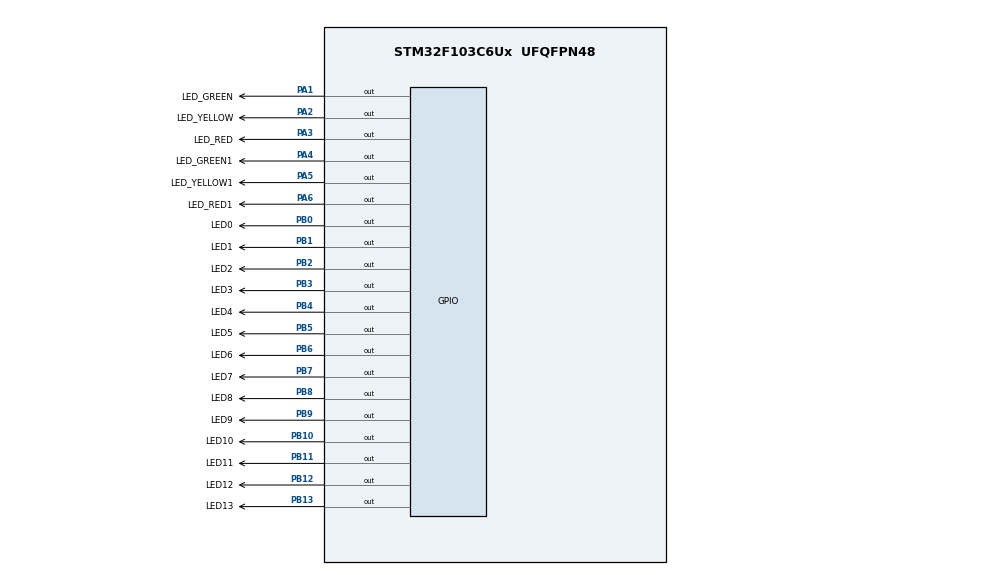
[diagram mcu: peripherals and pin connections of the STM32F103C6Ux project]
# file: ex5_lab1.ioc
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Mcu.Family=STM32F1
Mcu.Name=STM32F103C6Ux
Mcu.Package=UFQFPN48
NVIC.PriorityGroup=NVIC_PRIORITYGROUP_4
PA1.GPIO_Label=LED_GREEN
PA1.Signal=GPIO_Output
PA2.GPIO_Label=LED_YELLOW
PA2.Signal=GPIO_Output
PA3.GPIO_Label=LED_RED
PA3.Signal=GPIO_Output
PA4.GPIO_Label=LED_GREEN1
PA4.Signal=GPIO_Output
PA5.GPIO_Label=LED_YELLOW1
PA5.Signal=GPIO_Output
PA6.GPIO_Label=LED_RED1
PA6.Signal=GPIO_Output
PB0.GPIO_Label=LED0
PB0.Signal=GPIO_Output
PB1.GPIO_Label=LED1
PB1.Signal=GPIO_Output
PB10.GPIO_Label=LED10
PB10.Signal=GPIO_Output
PB11.GPIO_Label=LED11
PB11.Signal=GPIO_Output
PB12.GPIO_Label=LED12
PB12.Signal=GPIO_Output
PB13.GPIO_Label=LED13
PB13.Signal=GPIO_Output
PB2.GPIO_Label=LED2
PB2.Signal=GPIO_Output
PB3.GPIO_Label=LED3
PB3.Signal=GPIO_Output
PB4.GPIO_Label=LED4
PB4.Signal=GPIO_Output
PB5.GPIO_Label=LED5
PB5.Signal=GPIO_Output
PB6.GPIO_Label=LED6
PB6.Signal=GPIO_Output
PB7.GPIO_Label=LED7
PB7.Signal=GPIO_Output
PB8.GPIO_Label=LED8
PB8.Signal=GPIO_Output
PB9.GPIO_Label=LED9
PB9.Signal=GPIO_Output
ProjectManager.HeapSize=0x200
ProjectManager.StackSize=0x400
ProjectManager.TargetToolchain=STM32CubeIDE
RCC.APB1Freq_Value=8000000
RCC.APB2Freq_Value=8000000
VP_SYS_VS_ND.Mode=No_Debug
board=custom

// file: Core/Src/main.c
/* USER CODE BEGIN Header */
/**
  ******************************************************************************
  * @file           : main.c
  * @brief          : Main program body
  ******************************************************************************
  * @attention
  *
  * <h2><center>&copy; Copyright (c) 2022 STMicroelectronics.
  * All rights reserved.</center></h2>
  *
  * This software component is licensed by ST under BSD 3-Clause license,
  * the "License"; You may not use this file except in compliance with the
  * License. You may obtain a copy of the License at:
  *                        opensource.org/licenses/BSD-3-Clause
  *
  ******************************************************************************
  */
/* USER CODE END Header */
#include "main.h"

void SystemClock_Config(void);
static void MX_GPIO_Init(void);

/* USER CODE BEGIN 0 */
void display7SEG(int num){
   switch(num){
	case 0:
		HAL_GPIO_WritePin(GPIOB, LED0_Pin | LED1_Pin | LED2_Pin | LED3_Pin | LED4_Pin | LED5_Pin, RESET);
		HAL_GPIO_WritePin(GPIOB,  LED6_Pin, SET);
		break;

	case 1:
		HAL_GPIO_WritePin(GPIOB,  LED1_Pin | LED2_Pin, RESET);
		HAL_GPIO_WritePin(GPIOB, LED0_Pin | LED3_Pin | LED4_Pin | LED5_Pin | LED6_Pin , SET);
		break;
	case 2:
		HAL_GPIO_WritePin(GPIOB, LED0_Pin | LED1_Pin |  LED3_Pin | LED4_Pin |  LED6_Pin, RESET);
		HAL_GPIO_WritePin(GPIOB, LED2_Pin | LED5_Pin, SET);
		break;
	case 3:
		HAL_GPIO_WritePin(GPIOB, LED0_Pin |LED1_Pin | LED2_Pin | LED3_Pin | LED6_Pin, RESET);
		HAL_GPIO_WritePin(GPIOB, LED4_Pin | LED5_Pin, SET);
		break;
	case 4:
		HAL_GPIO_WritePin(GPIOB, LED1_Pin | LED2_Pin |  LED5_Pin | LED6_Pin , RESET);
		HAL_GPIO_WritePin(GPIOB, LED0_Pin | LED3_Pin | LED4_Pin, SET);
		break;
	case 5:
		HAL_GPIO_WritePin(GPIOB, LED0_Pin | LED2_Pin | LED3_Pin |  LED5_Pin | LED6_Pin , RESET);
		HAL_GPIO_WritePin(GPIOB, LED1_Pin | LED4_Pin, SET);
		break;
	case 6:
		HAL_GPIO_WritePin(GPIOB, LED0_Pin |  LED2_Pin | LED3_Pin | LED4_Pin | LED5_Pin | LED6_Pin , RESET);
		HAL_GPIO_WritePin(GPIOB, LED1_Pin, SET);
		break;
	case 7:
		HAL_GPIO_WritePin(GPIOB, LED0_Pin | LED1_Pin | LED2_Pin, RESET);
		HAL_GPIO_WritePin(GPIOB, LED3_Pin | LED4_Pin | LED5_Pin | LED6_Pin , SET);
		break;
	case 8:
		HAL_GPIO_WritePin(GPIOB, LED0_Pin | LED1_Pin | LED2_Pin | LED3_Pin | LED4_Pin | LED5_Pin | LED6_Pin , RESET);
		break;
	case 9:
		HAL_GPIO_WritePin(GPIOB, LED0_Pin | LED1_Pin | LED2_Pin | LED3_Pin | LED5_Pin | LED6_Pin , RESET);
		HAL_GPIO_WritePin(GPIOB, LED4_Pin, SET);
		break;
   }
}
void display7SEG_1(int num){
	switch(num){
	case 0:
		HAL_GPIO_WritePin(GPIOB, LED7_Pin | LED8_Pin | LED9_Pin | LED10_Pin | LED11_Pin | LED12_Pin, RESET);
		HAL_GPIO_WritePin(GPIOB,  LED13_Pin, SET);
		break;

	case 1:
		HAL_GPIO_WritePin(GPIOB, LED8_Pin | LED9_Pin, RESET);
		HAL_GPIO_WritePin(GPIOB, LED7_Pin | LED10_Pin | LED11_Pin | LED12_Pin | LED13_Pin , SET);
		break;
	case 2:
		HAL_GPIO_WritePin(GPIOB, LED7_Pin | LED8_Pin |  LED10_Pin | LED11_Pin |  LED13_Pin, RESET);
		HAL_GPIO_WritePin(GPIOB, LED9_Pin | LED12_Pin, SET);
		break;
	case 3:
		HAL_GPIO_WritePin(GPIOB, LED7_Pin |LED8_Pin | LED9_Pin | LED10_Pin | LED13_Pin, RESET);
		HAL_GPIO_WritePin(GPIOB, LED11_Pin | LED12_Pin, SET);
		break;
	case 4:
		HAL_GPIO_WritePin(GPIOB, LED8_Pin | LED9_Pin |  LED12_Pin | LED13_Pin , RESET);
		HAL_GPIO_WritePin(GPIOB, LED7_Pin | LED10_Pin | LED11_Pin, SET);
		break;
	case 5:
		HAL_GPIO_WritePin(GPIOB, LED7_Pin | LED9_Pin | LED10_Pin |  LED12_Pin | LED13_Pin , RESET);
		HAL_GPIO_WritePin(GPIOB, LED8_Pin | LED11_Pin, SET);
		break;
	case 6:
		HAL_GPIO_WritePin(GPIOB, LED7_Pin |  LED9_Pin | LED10_Pin | LED11_Pin | LED12_Pin | LED13_Pin , RESET);
		HAL_GPIO_WritePin(GPIOB, LED8_Pin, SET);
		break;
	case 7:
		HAL_GPIO_WritePin(GPIOB, LED7_Pin | LED8_Pin | LED9_Pin, RESET);
		HAL_GPIO_WritePin(GPIOB, LED10_Pin | LED11_Pin | LED12_Pin | LED13_Pin , SET);
		break;
	case 8:
		HAL_GPIO_WritePin(GPIOB, LED7_Pin | LED8_Pin | LED9_Pin | LED10_Pin | LED11_Pin | LED12_Pin | LED13_Pin , RESET);
		break;
	case 9:
		HAL_GPIO_WritePin(GPIOB, LED7_Pin | LED8_Pin | LED9_Pin | LED10_Pin | LED12_Pin | LED13_Pin , RESET);
		HAL_GPIO_WritePin(GPIOB, LED11_Pin, SET);
		break;
   }
}
/* USER CODE END 0 */

/*
int dec_to_7seg(int num){
	switch(num){
	case 0: return 0x3f;
	case 1: return 0x06;
	case 2: return 0x5b;
	case 3: return 0x4f;
	case 4: return 0x66;
	case 5: return 0x6d;
	case 6: return 0x7D;
	case 7: return 0x07;
	case 8: return 0x7F;
	case 9: return 0x6f;
	default : return 0x00;
	}
}

void display7SEG(int num){
	int bit_var;
	bit_var = dec_to_7seg(num);
	HAL_GPIO_WritePin(LED0_GPIO_Port, LED0_Pin, !(bit_var & 0x01));
	HAL_GPIO_WritePin(LED1_GPIO_Port, LED1_Pin, !((bit_var>>1)&0x01));
	HAL_GPIO_WritePin(LED2_GPIO_Port, LED2_Pin, !((bit_var>>2)&0x01));
	HAL_GPIO_WritePin(LED3_GPIO_Port, LED3_Pin, !((bit_var>>3)&0x01));
	HAL_GPIO_WritePin(LED4_GPIO_Port, LED4_Pin, !((bit_var>>4)&0x01));
	HAL_GPIO_WritePin(LED5_GPIO_Port, LED5_Pin, !((bit_var>>5)&0x01));
	HAL_GPIO_WritePin(LED6_GPIO_Port, LED6_Pin, !((bit_var>>6)&0x01));
}
void display7SEG_1(int num){
	int bit_var;
	bit_var = dec_to_7seg(num);
	HAL_GPIO_WritePin(LED7_GPIO_Port, LED7_Pin, !(bit_var & 0x01));
	HAL_GPIO_WritePin(LED8_GPIO_Port, LED8_Pin, !((bit_var>>1)&0x01));
	HAL_GPIO_WritePin(LED9_GPIO_Port, LED9_Pin, !((bit_var>>2)&0x01));
	HAL_GPIO_WritePin(LED10_GPIO_Port, LED10_Pin, !((bit_var>>3)&0x01));
	HAL_GPIO_WritePin(LED11_GPIO_Port, LED11_Pin, !((bit_var>>4)&0x01));
	HAL_GPIO_WritePin(LED12_GPIO_Port, LED12_Pin, !((bit_var>>5)&0x01));
	HAL_GPIO_WritePin(LED13_GPIO_Port, LED13_Pin, !((bit_var>>6)&0x01));
}
*/
int main(void)
{

  /* MCU Configuration--------------------------------------------------------*/

  /* Reset of all peripherals, Initializes the Flash interface and the Systick. */
  HAL_Init();

  /* Configure the system clock */
  SystemClock_Config();

  /* Initialize all configured peripherals */
  MX_GPIO_Init();

  /* Infinite loop */
  /* USER CODE BEGIN WHILE */
      int8_t status = 2;
      int8_t count_green = 3;
      int8_t count_yellow = 2;
      int8_t count_red = 5;
      int8_t status1 = 0;
      int8_t count_green1 = 3;
      int8_t count_yellow1 = 2;
      int8_t count_red1 = 5;
      HAL_GPIO_WritePin(LED_RED_GPIO_Port, LED_RED_Pin, SET);
      HAL_GPIO_WritePin(LED_YELLOW_GPIO_Port, LED_YELLOW_Pin, SET);
      HAL_GPIO_WritePin(LED_GREEN_GPIO_Port, LED_GREEN_Pin, SET);
      HAL_GPIO_WritePin(LED_RED1_GPIO_Port, LED_RED1_Pin, SET);
      HAL_GPIO_WritePin(LED_YELLOW1_GPIO_Port, LED_YELLOW1_Pin, SET);
      HAL_GPIO_WritePin(LED_GREEN1_GPIO_Port, LED_GREEN1_Pin, SET);
  while (1)
  {
    /* USER CODE END WHILE */
	  //7SEG-LED1
	  if(status == 2){
	  	 		  HAL_GPIO_WritePin(LED_GREEN_GPIO_Port, LED_GREEN_Pin, RESET);
	  	 		  display7SEG(count_green--);
	  	 		  if(count_green == 0){
	  	 			  status = 1;
	  	 			  count_green = 3;
	  	 			  HAL_GPIO_WritePin(LED_GREEN_GPIO_Port, LED_GREEN_Pin, SET);
	  	 		  }
	  	 	  }
	  	 	  if(status == 1){
	  	 		  HAL_GPIO_WritePin(LED_YELLOW_GPIO_Port, LED_YELLOW_Pin, RESET);
	  	 		  display7SEG(count_yellow--);
	  	 		  if(count_yellow == 0){
	  	 			  HAL_GPIO_WritePin(LED_YELLOW_GPIO_Port, LED_YELLOW_Pin, SET);
	  	 			  count_yellow = 2;
	  	 			  status = 0;
	  	 		  }
	  	 	  }
	  	 	  if(status == 0){
	  	 		  HAL_GPIO_WritePin(LED_RED_GPIO_Port, LED_RED_Pin, RESET);
	  	 		  display7SEG(count_red--);
	  	 		  if(count_red == 0){
	  	 			  HAL_GPIO_WritePin(LED_RED_GPIO_Port, LED_RED_Pin, SET);
	  	 			  status = 2;
	  	 			  count_red = 5;
	  	 		  }
	  	 	  }
	  	 	  //7 SEGMENT LED 2
	  	 	  	  	 if(status1 == 2){
	  	 	 	 		  HAL_GPIO_WritePin(LED_GREEN1_GPIO_Port, LED_GREEN1_Pin, RESET);
	  	 	 	 		   display7SEG_1(count_green1--);
	  	 	 	 		  if(count_green1 == 0){
	  	 	 	 			  status1 = 1;
	  	 	 	 			  count_green1 = 3;
	  	 	 	 			  HAL_GPIO_WritePin(LED_GREEN1_GPIO_Port, LED_GREEN1_Pin, SET);
	  	 	 	 		  }
	  	 	 	 	  }
	  	 	 	 	 if(status1 == 1){
	  	 	 	 		  HAL_GPIO_WritePin(LED_YELLOW1_GPIO_Port, LED_YELLOW1_Pin, RESET);
	  	 	 	 		  display7SEG_1(count_yellow1--);
	  	 	 	 		  if(count_yellow1 == 0){
	  	 	 	 			  HAL_GPIO_WritePin(LED_YELLOW1_GPIO_Port, LED_YELLOW1_Pin, SET);
	  	 	 	 			  count_yellow1 = 2;
	  	 	 	 			  status1 = 0;
	  	 	 	 		  }
	  	 	 	 	  }
	  	 	 	 	  if(status1 == 0){
	  	 	 	 		  HAL_GPIO_WritePin(LED_RED1_GPIO_Port, LED_RED1_Pin, RESET);
	  	 	 	 		  display7SEG_1(count_red1--);
	  	 	 	 		  if(count_red1 == 0){
	  	 	 	 			  HAL_GPIO_WritePin(LED_RED1_GPIO_Port, LED_RED1_Pin, SET);
	  	 	 	 			  status1 = 2;
	  	 	 	 			  count_red1 = 5;
	  	 	 	 		  }
	  	 	 	 	  }
	  	 	 	 HAL_Delay(1000);
  }
}

void SystemClock_Config(void)
{
  RCC_OscInitTypeDef RCC_OscInitStruct = {0};
  RCC_ClkInitTypeDef RCC_ClkInitStruct = {0};

  /** Initializes the RCC Oscillators according to the specified parameters
  * in the RCC_OscInitTypeDef structure.
  */
  RCC_OscInitStruct.OscillatorType = RCC_OSCILLATORTYPE_HSI;
  RCC_OscInitStruct.HSIState = RCC_HSI_ON;
  RCC_OscInitStruct.HSICalibrationValue = RCC_HSICALIBRATION_DEFAULT;
  RCC_OscInitStruct.PLL.PLLState = RCC_PLL_NONE;
  if (HAL_RCC_OscConfig(&RCC_OscInitStruct) != HAL_OK)
  {
    Error_Handler();
  }
  /** Initializes the CPU, AHB and APB buses clocks
  */
  RCC_ClkInitStruct.ClockType = RCC_CLOCKTYPE_HCLK|RCC_CLOCKTYPE_SYSCLK
                              |RCC_CLOCKTYPE_PCLK1|RCC_CLOCKTYPE_PCLK2;
  RCC_ClkInitStruct.SYSCLKSource = RCC_SYSCLKSOURCE_HSI;
  RCC_ClkInitStruct.AHBCLKDivider = RCC_SYSCLK_DIV1;
  RCC_ClkInitStruct.APB1CLKDivider = RCC_HCLK_DIV1;
  RCC_ClkInitStruct.APB2CLKDivider = RCC_HCLK_DIV1;

  if (HAL_RCC_ClockConfig(&RCC_ClkInitStruct, FLASH_LATENCY_0) != HAL_OK)
  {
    Error_Handler();
  }
}

static void MX_GPIO_Init(void)
{
  GPIO_InitTypeDef GPIO_InitStruct = {0};

  /* GPIO Ports Clock Enable */
  __HAL_RCC_GPIOA_CLK_ENABLE();
  __HAL_RCC_GPIOB_CLK_ENABLE();

  /*Configure GPIO pin Output Level */
  HAL_GPIO_WritePin(GPIOA, LED_GREEN_Pin|LED_YELLOW_Pin|LED_RED_Pin|LED_GREEN1_Pin
                          |LED_YELLOW1_Pin|LED_RED1_Pin, GPIO_PIN_RESET);

  /*Configure GPIO pin Output Level */
  HAL_GPIO_WritePin(GPIOB, LED0_Pin|LED1_Pin|LED2_Pin|LED10_Pin
                          |LED11_Pin|LED12_Pin|LED13_Pin|LED3_Pin
                          |LED4_Pin|LED5_Pin|LED6_Pin|LED7_Pin
                          |LED8_Pin|LED9_Pin, GPIO_PIN_RESET);

  /*Configure GPIO pins : LED_GREEN_Pin LED_YELLOW_Pin LED_RED_Pin LED_GREEN1_Pin
                           LED_YELLOW1_Pin LED_RED1_Pin */
  GPIO_InitStruct.Pin = LED_GREEN_Pin|LED_YELLOW_Pin|LED_RED_Pin|LED_GREEN1_Pin
                          |LED_YELLOW1_Pin|LED_RED1_Pin;
  GPIO_InitStruct.Mode = GPIO_MODE_OUTPUT_PP;
  GPIO_InitStruct.Pull = GPIO_NOPULL;
  GPIO_InitStruct.Speed = GPIO_SPEED_FREQ_LOW;
  HAL_GPIO_Init(GPIOA, &GPIO_InitStruct);

  /*Configure GPIO pins : LED0_Pin LED1_Pin LED2_Pin LED10_Pin
                           LED11_Pin LED12_Pin LED13_Pin LED3_Pin
                           LED4_Pin LED5_Pin LED6_Pin LED7_Pin
                           LED8_Pin LED9_Pin */
  GPIO_InitStruct.Pin = LED0_Pin|LED1_Pin|LED2_Pin|LED10_Pin
                          |LED11_Pin|LED12_Pin|LED13_Pin|LED3_Pin
                          |LED4_Pin|LED5_Pin|LED6_Pin|LED7_Pin
                          |LED8_Pin|LED9_Pin;
  GPIO_InitStruct.Mode = GPIO_MODE_OUTPUT_PP;
  GPIO_InitStruct.Pull = GPIO_NOPULL;
  GPIO_InitStruct.Speed = GPIO_SPEED_FREQ_LOW;
  HAL_GPIO_Init(GPIOB, &GPIO_InitStruct);

}

void Error_Handler(void)
{
  __disable_irq();
  while (1)
  {
  }
}

/************************ (C) COPYRIGHT STMicroelectronics *****END OF FILE****/
